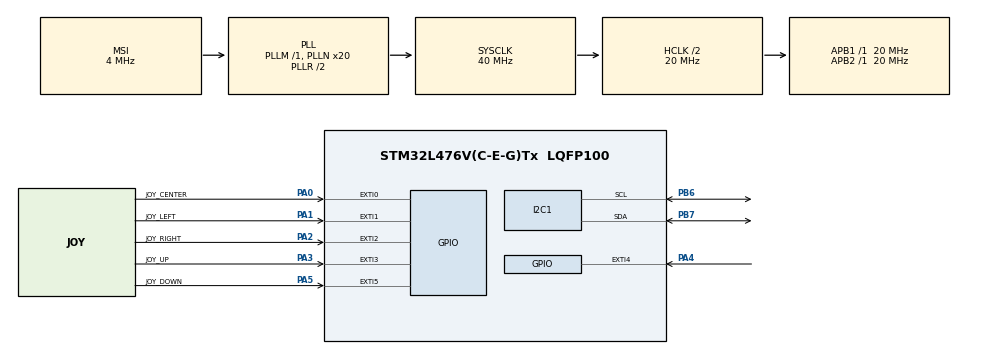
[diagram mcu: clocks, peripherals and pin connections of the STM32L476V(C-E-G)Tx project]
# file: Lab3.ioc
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Mcu.Family=STM32L4
PA2.GPIO_PuPd=GPIO_PULLDOWN
RTC.AlarmMaskHours-Alarm\ A=RTC_ALARMMASK_HOURS
RCC.CortexFreq_Value=20000000
NVIC.I2C1_EV_IRQn=true\:0\:0\:false\:false\:true\:true\:true
PA3.GPIO_PuPd=GPIO_PULLDOWN
PA0.GPIO_Label=JOY_CENTER
NVIC.EXTI3_IRQn=true\:0\:0\:false\:false\:true\:true\:true
VP_RTC_VS_RTC_Activate.Mode=RTC_Enabled
RTC.AlarmMaskMinutes-Alarm\ A=RTC_ALARMMASK_MINUTES
VP_RTC_VS_RTC_Alarm_A_Intern.Mode=Alarm A
RCC.SYSCLKSource=RCC_SYSCLKSOURCE_PLLCLK
ProjectManager.StackSize=0x400
NVIC.EXTI1_IRQn=true\:0\:0\:false\:false\:true\:true\:true
RCC.HCLKFreq_Value=20000000
RCC.APB2TimFreq_Value=20000000
PB6.Signal=I2C1_SCL
PB6.Mode=I2C
PA1.GPIO_PuPd=GPIO_PULLDOWN
RCC.AHBFreq_Value=20000000
RCC.PREFETCH_ENABLE=1
RCC.HSE_VALUE=8000000
RTC.Minutes=2
PA4.GPIO_PuPd=GPIO_PULLDOWN
RTC.AlarmMaskSeconds-Alarm\ A=RTC_ALARMMASK_SECONDS
PA5.GPIO_PuPd=GPIO_PULLDOWN
PB7.Signal=I2C1_SDA
NVIC.I2C1_ER_IRQn=true\:0\:0\:false\:false\:true\:true\:true
PA0.Signal=GPXTI0
RTC.AlarmMaskDateWeekDay-Alarm\ A=RTC_ALARMMASK_DATEWEEKDAY
Mcu.Package=LQFP100
PA2.GPIO_Label=JOY_RIGHT
VP_RTC_VS_RTC_Calendar.Mode=RTC_Calendar
NVIC.EXTI2_IRQn=true\:0\:0\:false\:false\:true\:true\:true
RCC.APB1TimFreq_Value=20000000
RCC.PLLSAI1N=24
PA3.Signal=GPXTI3
RCC.MSI_VALUE=4000000
ProjectManager.TargetToolchain=MDK-ARM V5.27
I2C1.Timing=0x00404C74
RTC.Format=RTC_FORMAT_BIN
RCC.USBFreq_Value=48000000
RCC.LSE_VALUE=32768
PA1.Signal=GPXTI1
PA5.Signal=GPXTI5
board=STM32L476G-DISCO
RCC.VCOOutputFreq_Value=80000000
RCC.APB2Freq_Value=20000000
RCC.ADCFreq_Value=48000000
PA1.GPIO_Label=JOY_LEFT
RCC.AHBCLKDivider=RCC_SYSCLK_DIV2
NVIC.RTC_Alarm_IRQn=true\:0\:0\:false\:false\:true\:true\:true
Mcu.Name=STM32L476V(C-E-G)Tx
RTC.Alarm-Alarm\ A=RTC_ALARM_A
PA2.Signal=GPXTI2
NVIC.EXTI0_IRQn=true\:0\:0\:false\:false\:true\:true\:true
PA4.Signal=GPXTI4
RCC.SYSCLKFreq_VALUE=40000000
RTC.Hours=1
PA5.GPIO_Label=JOY_DOWN
PB7.Mode=I2C
NVIC.EXTI9_5_IRQn=true\:0\:0\:false\:false\:true\:true\:true
ProjectManager.HeapSize=0x200
RCC.HSI_VALUE=16000000
NVIC.PriorityGroup=NVIC_PRIORITYGROUP_4
RCC.PLLN=20
RTC.Seconds=3
RCC.APB1Freq_Value=20000000
PA3.GPIO_Label=JOY_UP

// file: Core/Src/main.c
/* USER CODE BEGIN Header */
/**
  ******************************************************************************
  * @file           : main.c
  * @brief          : Main program body
  ******************************************************************************
  * @attention
  *
  * <h2><center>&copy; Copyright (c) 2020 STMicroelectronics.
  * All rights reserved.</center></h2>
  *
  * This software component is licensed by ST under BSD 3-Clause license,
  * the "License"; You may not use this file except in compliance with the
  * License. You may obtain a copy of the License at:
  *                        opensource.org/licenses/BSD-3-Clause
  *
  ******************************************************************************
  */
/* USER CODE END Header */
#include "main.h"
#include "i2c_at24c64.h"
#include "stm32l476g_discovery_glass_lcd.h"

/* USER CODE BEGIN PTD */
#define EEPROM_ADDRESS 0xA0
/* USER CODE END PTD */

/* USER CODE BEGIN PD */
RTC_DateTypeDef RTC_DateStructure;
RTC_TimeTypeDef RTC_TimeStructure;
/* USER CODE END PD */

I2C_HandleTypeDef hi2c1;

RTC_HandleTypeDef hrtc;

/* USER CODE BEGIN PV */
char lcd_buffer[6]; // LCD display buffer
char timestring[10] = {0}; // String to store time information
char datestring[6] = {0}; //String to store date information
uint8_t wd, dd, mt, yy, ss1, ss2, mm1, mm2, hh1, hh2; //for weekday, day, month, year, second, minute, hour
__IO uint16_t memLocation = 0x000A; //pick one location within range
__IO uint16_t memLocation_ref = 0x000A; //reference location
__IO uint16_t Cpressed;
__IO uint16_t Lpressed; //save the timestamp A to the eeprom using I2C
__IO uint16_t Rpressed; //read and display timestamp A from eeprom
__IO uint16_t Upressed; //save the timestamp B to the eeprom using I2C
__IO uint16_t Dpressed; //read and display timestamp B from eeprom
__IO uint32_t counter; //Counter
uint16_t EE_status;
int mode = 1;
int presscount = 0;
int submode = 1;
/* USER CODE END PV */

void SystemClock_Config(void);
static void MX_GPIO_Init(void);
static void MX_I2C1_Init(void);
static void MX_RTC_Init(void);
/* USER CODE BEGIN PFP */
void RTC_TimeShow();
void RTC_DateShow();
void RTC_ModifyShow();
void RTC_ModifyUp();
void RTC_ModifyDown();
/* USER CODE END PFP */

int main(void)
{
  /* USER CODE BEGIN 1 */
	Cpressed = 0;
	Lpressed = 0;
	Rpressed = 0;
	Upressed = 0;
	Dpressed = 0;
  /* USER CODE END 1 */

  /* MCU Configuration--------------------------------------------------------*/

  /* Reset of all peripherals, Initializes the Flash interface and the Systick. */
  HAL_Init();

  /* USER CODE BEGIN Init */
	BSP_LCD_GLASS_Init();
	BSP_LED_Init(LED4);
  /* USER CODE END Init */

  /* Configure the system clock */
  SystemClock_Config();

  /* Initialize all configured peripherals */
  MX_GPIO_Init();
  MX_I2C1_Init();
  MX_RTC_Init();

  /* Infinite loop */
  while (1)
  {
    /* USER CODE BEGIN 3 */
		if(mode == 1) //This is the time display mode
		{
			RTC_TimeShow();
		}
		counter = HAL_GetTick(); //Counter get initial value
		while(BSP_JOY_GetState()==JOY_SEL) //If the selection button is being pushed
		{
			if((HAL_GetTick() - counter) > 1000) //Check if the selection button is pushed and hold
			{
				Cpressed = 2;
			}
		}

		if(Cpressed == 2) // If the selection button is pushed and hold
		{
			RTC_DateShow(); //Show date
			Cpressed = 0; // Automatically turned off
		}
		if(Cpressed == 1) // If the selection button is pressed
		{
			if(presscount == 1) // First time pressed
			{
				BSP_LCD_GLASS_DisplayString((uint8_t *) "SAVED");
				HAL_Delay(200);
				HAL_RTC_GetTime(&hrtc, &RTC_TimeStructure, RTC_FORMAT_BIN);
				hh1 = RTC_TimeStructure.Hours;
				mm1 = RTC_TimeStructure.Minutes;
				ss1 = RTC_TimeStructure.Seconds;
				sprintf(timestring, "%02d%02d%02d", hh1, mm1, ss1);
				EE_status = I2C_ByteWrite(&hi2c1, EEPROM_ADDRESS, memLocation, hh1);
				if(EE_status != HAL_OK)
				{
					I2C_Error(&hi2c1);
				}
				EE_status = I2C_ByteWrite(&hi2c1, EEPROM_ADDRESS, memLocation + 1, mm1);
				if(EE_status != HAL_OK)
				{
					I2C_Error(&hi2c1);
				}
				EE_status = I2C_ByteWrite(&hi2c1, EEPROM_ADDRESS, memLocation + 2, ss1);
				if(EE_status != HAL_OK)
				{
					I2C_Error(&hi2c1);
				}
			}

			else if(presscount == 2) // Second time pressed
			{
				BSP_LCD_GLASS_DisplayString((uint8_t *) "SAVED");
				HAL_Delay(200);
				HAL_RTC_GetTime(&hrtc, &RTC_TimeStructure, RTC_FORMAT_BIN);
				hh2 = RTC_TimeStructure.Hours;
				mm2 = RTC_TimeStructure.Minutes;
				ss2 = RTC_TimeStructure.Seconds;
				sprintf(timestring, "%02d%02d%02d", hh2, mm2, ss2);
				EE_status = I2C_ByteWrite(&hi2c1, EEPROM_ADDRESS, memLocation + 3, hh2);
				if(EE_status != HAL_OK)
				{
					I2C_Error(&hi2c1);
				}
				EE_status = I2C_ByteWrite(&hi2c1, EEPROM_ADDRESS, memLocation + 4, mm2);
				if(EE_status != HAL_OK)
				{
					I2C_Error(&hi2c1);
				}
				EE_status = I2C_ByteWrite(&hi2c1, EEPROM_ADDRESS, memLocation + 5, ss2);
				if(EE_status != HAL_OK)
				{
					I2C_Error(&hi2c1);
				}
				presscount = 0; // Initialize presscount
			}
			Cpressed = 0;
		}

		if(Lpressed == 1 && mode == 1) //If in time display mode and left button is pressed
		{
			mode = 2;
			hh1 = I2C_ByteRead(&hi2c1, EEPROM_ADDRESS, memLocation_ref);
			mm1 = I2C_ByteRead(&hi2c1, EEPROM_ADDRESS, memLocation_ref + 1);
			ss1 = I2C_ByteRead(&hi2c1, EEPROM_ADDRESS, memLocation_ref + 2);
			sprintf(timestring, "%02d%02d%02d", hh1, mm1, ss1);
			BSP_LCD_GLASS_DisplayString((uint8_t*)timestring);
			HAL_Delay(1000);
			hh2 = I2C_ByteRead(&hi2c1, EEPROM_ADDRESS, memLocation_ref + 3);
			mm2 = I2C_ByteRead(&hi2c1, EEPROM_ADDRESS, memLocation_ref + 4);
			ss2 = I2C_ByteRead(&hi2c1, EEPROM_ADDRESS, memLocation_ref + 5);
			sprintf(timestring, "%02d%02d%02d", hh2, mm2, ss2);
			BSP_LCD_GLASS_DisplayString((uint8_t*)timestring);
			HAL_Delay(1000);
			Lpressed = 0;
		}
		if(Lpressed == 1 && mode == 2) // If already in EEPROM display mode and left is pressed
		{
			mode = 1; // Go back to time display mode
			Lpressed = 0;
		}

		if(Lpressed == 1 && mode == 3) // If current mode is modification mode
		{
			submode++; // Select parameters to be changed
			if(submode > 7)
			{
				submode = 1;
			}
			Lpressed = 0;
		}

		if(Upressed == 1)
		{
			RTC_ModifyUp();
			Upressed = 0;
		}

		if (Rpressed == 1)
		{
			mode = 3; // Set mode to modification mode
			RTC_ModifyShow();
		}
		if (Dpressed == 1)
		{
			RTC_ModifyDown();
			Dpressed = 0;
		}
  }
  /* USER CODE END 3 */
}

void SystemClock_Config(void)
{
  RCC_OscInitTypeDef RCC_OscInitStruct = {0};
  RCC_ClkInitTypeDef RCC_ClkInitStruct = {0};
  RCC_PeriphCLKInitTypeDef PeriphClkInit = {0};

  /** Initializes the RCC Oscillators according to the specified parameters
  * in the RCC_OscInitTypeDef structure.
  */
  RCC_OscInitStruct.OscillatorType = RCC_OSCILLATORTYPE_LSI|RCC_OSCILLATORTYPE_MSI;
  RCC_OscInitStruct.LSIState = RCC_LSI_ON;
  RCC_OscInitStruct.MSIState = RCC_MSI_ON;
  RCC_OscInitStruct.MSICalibrationValue = 0;
  RCC_OscInitStruct.MSIClockRange = RCC_MSIRANGE_6;
  RCC_OscInitStruct.PLL.PLLState = RCC_PLL_ON;
  RCC_OscInitStruct.PLL.PLLSource = RCC_PLLSOURCE_MSI;
  RCC_OscInitStruct.PLL.PLLM = 1;
  RCC_OscInitStruct.PLL.PLLN = 20;
  RCC_OscInitStruct.PLL.PLLP = RCC_PLLP_DIV7;
  RCC_OscInitStruct.PLL.PLLQ = RCC_PLLQ_DIV2;
  RCC_OscInitStruct.PLL.PLLR = RCC_PLLR_DIV2;
  if (HAL_RCC_OscConfig(&RCC_OscInitStruct) != HAL_OK)
  {
    Error_Handler();
  }
  /** Initializes the CPU, AHB and APB buses clocks
  */
  RCC_ClkInitStruct.ClockType = RCC_CLOCKTYPE_HCLK|RCC_CLOCKTYPE_SYSCLK
                              |RCC_CLOCKTYPE_PCLK1|RCC_CLOCKTYPE_PCLK2;
  RCC_ClkInitStruct.SYSCLKSource = RCC_SYSCLKSOURCE_PLLCLK;
  RCC_ClkInitStruct.AHBCLKDivider = RCC_SYSCLK_DIV2;
  RCC_ClkInitStruct.APB1CLKDivider = RCC_HCLK_DIV1;
  RCC_ClkInitStruct.APB2CLKDivider = RCC_HCLK_DIV1;

  if (HAL_RCC_ClockConfig(&RCC_ClkInitStruct, FLASH_LATENCY_1) != HAL_OK)
  {
    Error_Handler();
  }
  PeriphClkInit.PeriphClockSelection = RCC_PERIPHCLK_RTC|RCC_PERIPHCLK_I2C1;
  PeriphClkInit.I2c1ClockSelection = RCC_I2C1CLKSOURCE_PCLK1;
  PeriphClkInit.RTCClockSelection = RCC_RTCCLKSOURCE_LSI;
  if (HAL_RCCEx_PeriphCLKConfig(&PeriphClkInit) != HAL_OK)
  {
    Error_Handler();
  }
  /** Configure the main internal regulator output voltage
  */
  if (HAL_PWREx_ControlVoltageScaling(PWR_REGULATOR_VOLTAGE_SCALE1) != HAL_OK)
  {
    Error_Handler();
  }
}

static void MX_I2C1_Init(void)
{

  hi2c1.Instance = I2C1;
  hi2c1.Init.Timing = 0x00404C74;
  hi2c1.Init.OwnAddress1 = 0;
  hi2c1.Init.AddressingMode = I2C_ADDRESSINGMODE_7BIT;
  hi2c1.Init.DualAddressMode = I2C_DUALADDRESS_DISABLE;
  hi2c1.Init.OwnAddress2 = 0;
  hi2c1.Init.OwnAddress2Masks = I2C_OA2_NOMASK;
  hi2c1.Init.GeneralCallMode = I2C_GENERALCALL_DISABLE;
  hi2c1.Init.NoStretchMode = I2C_NOSTRETCH_DISABLE;
  if (HAL_I2C_Init(&hi2c1) != HAL_OK)
  {
    Error_Handler();
  }
  /** Configure Analogue filter
  */
  if (HAL_I2CEx_ConfigAnalogFilter(&hi2c1, I2C_ANALOGFILTER_ENABLE) != HAL_OK)
  {
    Error_Handler();
  }
  /** Configure Digital filter
  */
  if (HAL_I2CEx_ConfigDigitalFilter(&hi2c1, 0) != HAL_OK)
  {
    Error_Handler();
  }

}

static void MX_RTC_Init(void)
{

  RTC_TimeTypeDef sTime = {0};
  RTC_DateTypeDef sDate = {0};
  RTC_AlarmTypeDef sAlarm = {0};

  /** Initialize RTC Only
  */
  hrtc.Instance = RTC;
  hrtc.Init.HourFormat = RTC_HOURFORMAT_24;
  hrtc.Init.AsynchPrediv = 127;
  hrtc.Init.SynchPrediv = 255;
  hrtc.Init.OutPut = RTC_OUTPUT_DISABLE;
  hrtc.Init.OutPutRemap = RTC_OUTPUT_REMAP_NONE;
  hrtc.Init.OutPutPolarity = RTC_OUTPUT_POLARITY_HIGH;
  hrtc.Init.OutPutType = RTC_OUTPUT_TYPE_OPENDRAIN;
  if (HAL_RTC_Init(&hrtc) != HAL_OK)
  {
    Error_Handler();
  }

  /** Initialize RTC and set the Time and Date
  */
  sTime.Hours = 02;
  sTime.Minutes = 55;
  sTime.Seconds = 40;
  sTime.DayLightSaving = RTC_DAYLIGHTSAVING_NONE;
  sTime.StoreOperation = RTC_STOREOPERATION_RESET;
  if (HAL_RTC_SetTime(&hrtc, &sTime, RTC_FORMAT_BIN) != HAL_OK)
  {
    Error_Handler();
  }
  sDate.WeekDay = RTC_WEEKDAY_MONDAY;
  sDate.Month = RTC_MONTH_JANUARY;
  sDate.Date = 29;
  sDate.Year = 20;

  if (HAL_RTC_SetDate(&hrtc, &sDate, RTC_FORMAT_BIN) != HAL_OK)
  {
    Error_Handler();
  }
  /** Enable the Alarm A
  */
  sAlarm.AlarmTime.Hours = 0;
  sAlarm.AlarmTime.Minutes = 0;
  sAlarm.AlarmTime.Seconds = 0;
  sAlarm.AlarmTime.SubSeconds = 0;
  sAlarm.AlarmTime.DayLightSaving = RTC_DAYLIGHTSAVING_NONE;
  sAlarm.AlarmTime.StoreOperation = RTC_STOREOPERATION_RESET;
  sAlarm.AlarmMask = RTC_ALARMMASK_ALL;
  sAlarm.AlarmSubSecondMask = RTC_ALARMSUBSECONDMASK_ALL;
  sAlarm.AlarmDateWeekDaySel = RTC_ALARMDATEWEEKDAYSEL_DATE;
  sAlarm.AlarmDateWeekDay = 1;
  sAlarm.Alarm = RTC_ALARM_A;
  if (HAL_RTC_SetAlarm_IT(&hrtc, &sAlarm, RTC_FORMAT_BIN) != HAL_OK)
  {
    Error_Handler();
  }

}

static void MX_GPIO_Init(void)
{
  GPIO_InitTypeDef GPIO_InitStruct = {0};

  /* GPIO Ports Clock Enable */
  __HAL_RCC_GPIOA_CLK_ENABLE();
  __HAL_RCC_GPIOB_CLK_ENABLE();

  /*Configure GPIO pin : JOY_CENTER_Pin */
  GPIO_InitStruct.Pin = JOY_CENTER_Pin;
  GPIO_InitStruct.Mode = GPIO_MODE_IT_RISING;
  GPIO_InitStruct.Pull = GPIO_NOPULL;
  HAL_GPIO_Init(JOY_CENTER_GPIO_Port, &GPIO_InitStruct);

  /*Configure GPIO pins : JOY_LEFT_Pin JOY_RIGHT_Pin JOY_UP_Pin PA4
                           JOY_DOWN_Pin */
  GPIO_InitStruct.Pin = JOY_LEFT_Pin|JOY_RIGHT_Pin|JOY_UP_Pin|GPIO_PIN_4
                          |JOY_DOWN_Pin;
  GPIO_InitStruct.Mode = GPIO_MODE_IT_RISING;
  GPIO_InitStruct.Pull = GPIO_PULLDOWN;
  HAL_GPIO_Init(GPIOA, &GPIO_InitStruct);

  /* EXTI interrupt init*/
  HAL_NVIC_SetPriority(EXTI0_IRQn, 0, 0);
  HAL_NVIC_EnableIRQ(EXTI0_IRQn);

  HAL_NVIC_SetPriority(EXTI1_IRQn, 0, 0);
  HAL_NVIC_EnableIRQ(EXTI1_IRQn);

  HAL_NVIC_SetPriority(EXTI2_IRQn, 0, 0);
  HAL_NVIC_EnableIRQ(EXTI2_IRQn);

  HAL_NVIC_SetPriority(EXTI3_IRQn, 0, 0);
  HAL_NVIC_EnableIRQ(EXTI3_IRQn);

  HAL_NVIC_SetPriority(EXTI9_5_IRQn, 0, 0);
  HAL_NVIC_EnableIRQ(EXTI9_5_IRQn);

}

/* USER CODE BEGIN 4 */
void HAL_GPIO_EXTI_Callback(uint16_t GPIO_Pin)
{
	switch (GPIO_Pin)
	{
		case GPIO_PIN_0:
			Cpressed = 1;
			presscount++; //Presscount plus one, preparing for next press

			break;

		case GPIO_PIN_1:
			Lpressed = 1;

			break;

		case GPIO_PIN_2:
			Rpressed = 1;
			if(mode == 3) //If the current mode is modification mode
			{
				Rpressed = 0; //Stop function modifyShow()
				mode = 1; //  Turn mode back to display time mode
			}
			break;

		case GPIO_PIN_3:
			Upressed = 1;
			break;

		case GPIO_PIN_5:
			Dpressed = 1;
			break;

	}
}
void HAL_RTC_AlarmAEventCallback(RTC_HandleTypeDef*hrtc)
{
	BSP_LED_Toggle(LED4);
}

void RTC_TimeShow()
{
	BSP_LCD_GLASS_Clear();
	HAL_RTC_GetTime(&hrtc, &RTC_TimeStructure, RTC_FORMAT_BIN); //Get current time from RTC handles and save to RTC_TimeStructure
	sprintf(timestring, "%02d%02d%02d", RTC_TimeStructure.Hours, RTC_TimeStructure.Minutes, RTC_TimeStructure.Seconds); //Formating time and display
	BSP_LCD_GLASS_DisplayString((uint8_t*)timestring);

	// Polish the display format
	BSP_LCD_GLASS_DisplayChar((uint8_t*)&timestring[1], POINT_OFF, DOUBLEPOINT_ON, LCD_DIGIT_POSITION_2);
	BSP_LCD_GLASS_DisplayChar((uint8_t*)&timestring[3], POINT_OFF, DOUBLEPOINT_ON, LCD_DIGIT_POSITION_4);

	HAL_RTC_GetDate(&hrtc, &RTC_DateStructure, RTC_FORMAT_BIN);
}

void RTC_DateShow()
{
	BSP_LCD_GLASS_Clear();

	HAL_RTC_GetDate(&hrtc, &RTC_DateStructure, RTC_FORMAT_BIN);

	sprintf(datestring, "WD  %02d", RTC_DateStructure.WeekDay);
	BSP_LCD_GLASS_DisplayString((uint8_t *) datestring);
	HAL_Delay(1500);

	sprintf(datestring, "MT  %02d", RTC_DateStructure.Month);
	BSP_LCD_GLASS_DisplayString((uint8_t *) datestring);
	HAL_Delay(1500);

	sprintf(datestring, "DD  %02d", RTC_DateStructure.Date);
	BSP_LCD_GLASS_DisplayString((uint8_t *) datestring);
	HAL_Delay(1500);

	sprintf(datestring, "YY%04d", RTC_DateStructure.Year + 2000);
	BSP_LCD_GLASS_DisplayString((uint8_t *) datestring);
	HAL_Delay(1500);
}

void RTC_ModifyShow()
{
	switch(submode)
	{
		case 1:
			sprintf(datestring, "SS  %02d", RTC_TimeStructure.Seconds);
			BSP_LCD_GLASS_DisplayString((uint8_t *) datestring);
			break;
		case 2:
			sprintf(datestring, "MM  %02d", RTC_TimeStructure.Minutes);
			BSP_LCD_GLASS_DisplayString((uint8_t *) datestring);
			break;
		case 3:
			sprintf(datestring, "HH  %02d", RTC_TimeStructure.Hours);
			BSP_LCD_GLASS_DisplayString((uint8_t *) datestring);
			break;
		case 4:
			sprintf(datestring, "WD  %02d", RTC_DateStructure.WeekDay);
			BSP_LCD_GLASS_DisplayString((uint8_t *) datestring);
			break;
		case 5:
			sprintf(datestring, "DD  %02d", RTC_DateStructure.Date);
			BSP_LCD_GLASS_DisplayString((uint8_t *) datestring);
			break;
		case 6:
			sprintf(datestring, "MT  %02d", RTC_DateStructure.Month);
			BSP_LCD_GLASS_DisplayString((uint8_t *) datestring);
			break;
		case 7:
			sprintf(datestring, "YY%04d", RTC_DateStructure.Year + 2000);
			BSP_LCD_GLASS_DisplayString((uint8_t *) datestring);
			break;
	}
}

void RTC_ModifyUp()
{
	switch(submode)
	{
		case 1:
			if(RTC_TimeStructure.Seconds > 58)
			{
				RTC_TimeStructure.Seconds = 0;
			}
			else
			{
				RTC_TimeStructure.Seconds++;
				HAL_RTC_SetTime(&hrtc, &RTC_TimeStructure, RTC_FORMAT_BIN);
			}
			break;
		case 2:
			if(RTC_TimeStructure.Minutes > 58)
			{
				RTC_TimeStructure.Minutes = 0;
			}
			else
			{
				RTC_TimeStructure.Minutes++;
				HAL_RTC_SetTime(&hrtc, &RTC_TimeStructure, RTC_FORMAT_BIN);
			}
			break;

		case 3:
			if(RTC_TimeStructure.Hours > 22)
			{
				RTC_TimeStructure.Hours = 0;
			}
			else
			{
				RTC_TimeStructure.Hours++;
				HAL_RTC_SetTime(&hrtc, &RTC_TimeStructure, RTC_FORMAT_BIN);
			}
			break;

		case 4:
			if(RTC_DateStructure.WeekDay > 6)
			{
				RTC_DateStructure.WeekDay = 1;
			}
			else
			{
				RTC_DateStructure.WeekDay++;
				HAL_RTC_SetDate(&hrtc, &RTC_DateStructure, RTC_FORMAT_BIN);
			}
			break;

		case 5:
			if(RTC_DateStructure.Date > 29)
			{
				RTC_DateStructure.Date = 1;
			}
			else
			{
				RTC_DateStructure.Date++;
				HAL_RTC_SetDate(&hrtc, &RTC_DateStructure, RTC_FORMAT_BIN);
			}
			break;

		case 6:
			if(RTC_DateStructure.Month > 11)
			{
				RTC_DateStructure.Month = 1;
			}
			else
			{
				RTC_DateStructure.Month++;
				HAL_RTC_SetDate(&hrtc, &RTC_DateStructure, RTC_FORMAT_BIN);
			}
			break;

		case 7:
			RTC_DateStructure.Year++;
			HAL_RTC_SetDate(&hrtc, &RTC_DateStructure, RTC_FORMAT_BIN);
			break;
	}
}

void RTC_ModifyDown()
{
	switch(submode)
	{
		case 1:
			if(RTC_TimeStructure.Seconds == 0)
			{
				RTC_TimeStructure.Seconds = 59;
			}
			else
			{
				RTC_TimeStructure.Seconds--;
				HAL_RTC_SetTime(&hrtc, &RTC_TimeStructure, RTC_FORMAT_BIN);
			}
			break;
		case 2:
			if(RTC_TimeStructure.Minutes == 0)
			{
				RTC_TimeStructure.Minutes = 59;
			}
			else
			{
				RTC_TimeStructure.Minutes--;
				HAL_RTC_SetTime(&hrtc, &RTC_TimeStructure, RTC_FORMAT_BIN);
			}
			break;

		case 3:
			if(RTC_TimeStructure.Hours == 0)
			{
				RTC_TimeStructure.Hours = 23;
			}
			else
			{
				RTC_TimeStructure.Hours--;
				HAL_RTC_SetTime(&hrtc, &RTC_TimeStructure, RTC_FORMAT_BIN);
			}
			break;

		case 4:
			if(RTC_DateStructure.WeekDay < 2)
			{
				RTC_DateStructure.WeekDay = 7;
			}
			else
			{
				RTC_DateStructure.WeekDay--;
				HAL_RTC_SetDate(&hrtc, &RTC_DateStructure, RTC_FORMAT_BIN);
			}
			break;

		case 5:
			if(RTC_DateStructure.Date < 2)
			{
				RTC_DateStructure.Date = 30;
			}
			else
			{
				RTC_DateStructure.Date--;
				HAL_RTC_SetDate(&hrtc, &RTC_DateStructure, RTC_FORMAT_BIN);
			}
			break;

		case 6:
			if(RTC_DateStructure.Month < 2)
			{
				RTC_DateStructure.Month = 12;
			}
			else
			{
				RTC_DateStructure.Month--;
				HAL_RTC_SetDate(&hrtc, &RTC_DateStructure, RTC_FORMAT_BIN);
			}
			break;

		case 7:
			RTC_DateStructure.Year--;
			HAL_RTC_SetDate(&hrtc, &RTC_DateStructure, RTC_FORMAT_BIN);
			break;
	}
}

/* USER CODE END 4 */

void Error_Handler(void)
{
}

/************************ (C) COPYRIGHT STMicroelectronics *****END OF FILE****/
